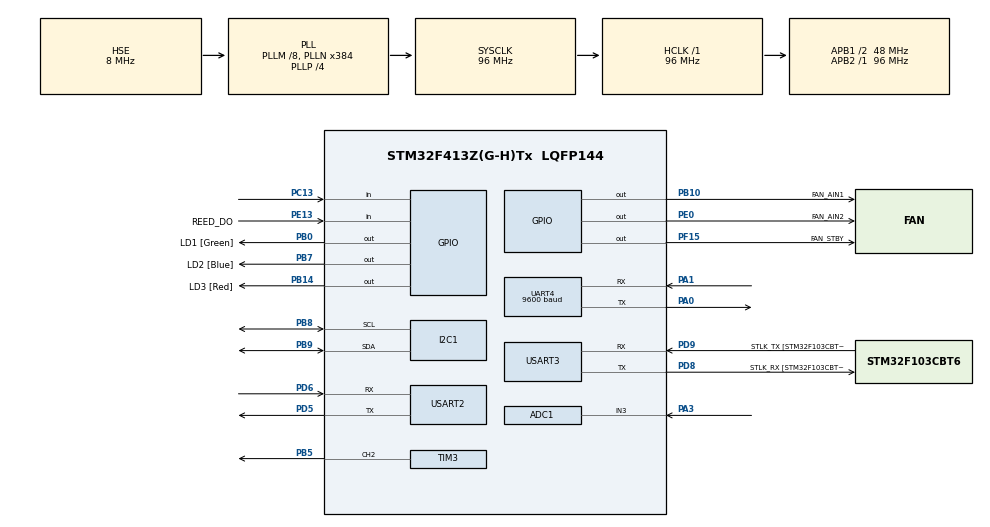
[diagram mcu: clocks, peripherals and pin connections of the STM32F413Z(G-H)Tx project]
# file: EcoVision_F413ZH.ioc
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ADC1.Channel-0\#ChannelRegularConversion=ADC_CHANNEL_3
ADC1.NbrOfConversionFlag=1
ADC1.Rank-0\#ChannelRegularConversion=1
ADC1.SamplingTime-0\#ChannelRegularConversion=ADC_SAMPLETIME_3CYCLES
ADC1.master=1
FREERTOS.Tasks01=heartbeatTask,24,256,StartHeartbeatTask,Default,NULL,Dynamic,NULL,NULL;ledTask,8,384,StartLedTask,Default,NULL,Dynamic,NULL,NULL;visionTask,16,768,StartVisionTask,Default,NULL,Dynamic,NULL,NULL
FREERTOS.configTOTAL_HEAP_SIZE=12288
Mcu.Family=STM32F4
Mcu.Name=STM32F413Z(G-H)Tx
Mcu.Package=LQFP144
NVIC.PriorityGroup=NVIC_PRIORITYGROUP_4
NVIC.TIM6_DAC_IRQn=true\:15\:0\:false\:false\:true\:false\:false\:false\:true
NVIC.TimeBase=TIM6_DAC_IRQn
NVIC.TimeBaseIP=TIM6
NVIC.UART4_IRQn=true\:6\:0\:true\:false\:true\:true\:true\:true\:false
NVIC.USART3_IRQn=true\:6\:0\:true\:false\:true\:true\:true\:true\:false
PA0.Mode=Asynchronous
PA0.Signal=UART4_TX
PA1.GPIO_PuPd=GPIO_PULLUP
PA1.Mode=Asynchronous
PA1.Signal=UART4_RX
PA13.GPIO_Label=TMS
PA13.Mode=Serial_Wire
PA13.Signal=SYS_JTMS-SWDIO
PA14.GPIO_Label=TCK
PA14.Mode=Serial_Wire
PA14.Signal=SYS_JTCK-SWCLK
PA3.Signal=ADCx_IN3
PB0.GPIO_Label=LD1 [Green]
PB0.Signal=GPIO_Output
PB10.GPIO_Label=FAN_AIN1
PB10.PinState=GPIO_PIN_RESET
PB10.Signal=GPIO_Output
PB14.GPIO_Label=LD3 [Red]
PB14.Signal=GPIO_Output
PB5.Signal=S_TIM3_CH2
PB7.GPIO_Label=LD2 [Blue]
PB7.Signal=GPIO_Output
PB8.Mode=I2C
PB8.Signal=I2C1_SCL
PB9.Mode=I2C
PB9.Signal=I2C1_SDA
PC13.GPIO_PuPd=GPIO_PULLUP
PC13.Signal=GPIO_Input
PD8.GPIO_Label=STLK_RX [STM32F103CBT6_PA3]
PD8.Mode=Asynchronous
PD8.Signal=USART3_TX
PD9.GPIO_Label=STLK_TX [STM32F103CBT6_PA2]
PD9.Mode=Asynchronous
PD9.Signal=USART3_RX
PE13.GPIO_Label=REED_DO
PE13.GPIO_PuPd=GPIO_PULLUP
PE13.Signal=GPIO_Input
PE0.GPIO_Label=FAN_AIN2
PE0.PinState=GPIO_PIN_RESET
PE0.Signal=GPIO_Output
PF15.GPIO_Label=FAN_STBY
PF15.PinState=GPIO_PIN_RESET
PF15.Signal=GPIO_Output
PH0\ -\ OSC_IN.GPIO_Label=MCO
PH0\ -\ OSC_IN.Mode=HSE-External-Clock-Source
PH0\ -\ OSC_IN.Signal=RCC_OSC_IN
PH1\ -\ OSC_OUT.Mode=HSE-External-Clock-Source
PH1\ -\ OSC_OUT.Signal=RCC_OSC_OUT
ProjectManager.HeapSize=0x200
ProjectManager.StackSize=0x400
ProjectManager.TargetToolchain=MDK-ARM V5
RCC.AHBCLKDivider=RCC_SYSCLK_DIV1
RCC.AHBFreq_Value=96000000
RCC.APB1CLKDivider=RCC_HCLK_DIV2
RCC.APB1Freq_Value=48000000
RCC.APB1TimFreq_Value=96000000
RCC.APB2CLKDivider=RCC_HCLK_DIV1
RCC.APB2Freq_Value=96000000
RCC.APB2TimFreq_Value=96000000
RCC.CortexFreq_Value=96000000
RCC.FLatency=FLASH_LATENCY_3
RCC.HCLKFreq_Value=96000000
RCC.HSE_VALUE=8000000
RCC.OscillatorType=RCC_OSCILLATORTYPE_HSE
RCC.PLLM=8
RCC.PLLN=384
RCC.PLLP=RCC_PLLP_DIV4
RCC.PLLQ=8
RCC.PLLSourceVirtual=RCC_PLLSOURCE_HSE
RCC.SYSCLKFreq_VALUE=96000000
RCC.SYSCLKSource=RCC_SYSCLKSOURCE_PLLCLK
RCC.VCOOutputFreq_Value=384000000
SH.ADCx_IN3.0=ADC1_IN3,IN3
SH.S_TIM3_CH2.0=TIM3_CH2,PWM Generation2 CH2
TIM3.Channel-PWM\ Generation2\ CH2=TIM_CHANNEL_2
TIM3.Period=4799
TIM3.Prescaler=0
TIM3.Pulse-PWM\ Generation2\ CH2=0
UART4.BaudRate=9600
UART4.VirtualMode=Asynchronous
USART3.VirtualMode=VM_ASYNC
VP_FREERTOS_VS_CMSIS_V2.Mode=CMSIS_V2
VP_SYS_VS_tim6.Mode=TIM6
board=custom
PD5.Mode=Asynchronous
PD5.Signal=USART2_TX
PD6.Mode=Asynchronous
PD6.Signal=USART2_RX
NVIC.USART2_IRQn=true\:6\:0\:true\:false\:true\:true\:true\:true\:false
# Environment task is implemented in App/Src/app_environment.c; 2048-byte stack, Low priority.
# PC5 is ADC1 channel15. Sampling config is owned by app_environment.c.

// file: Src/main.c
/* USER CODE BEGIN Header */
/**
  ******************************************************************************
  * @file           : main.c
  * @brief          : Main program body
  ******************************************************************************
  * @attention
  *
  * Copyright (c) 2026 STMicroelectronics.
  * All rights reserved.
  *
  * This software is licensed under terms that can be found in the LICENSE file
  * in the root directory of this software component.
  * If no LICENSE file comes with this software, it is provided AS-IS.
  *
  ******************************************************************************
  */
/* USER CODE END Header */
#include "main.h"
#include "cmsis_os.h"

/* USER CODE BEGIN Includes */
#include "app_led.h"
#include "app_fan.h"
#include "app_vision.h"
#include "app_log.h"
#include "app_environment.h"
#include "app_reed.h"
/* USER CODE END Includes */

ADC_HandleTypeDef hadc1;

I2C_HandleTypeDef hi2c1;

TIM_HandleTypeDef htim3;

UART_HandleTypeDef huart2;
UART_HandleTypeDef huart4;
UART_HandleTypeDef huart3;

/* Definitions for heartbeatTask */
osThreadId_t heartbeatTaskHandle;
const osThreadAttr_t heartbeatTask_attributes = {
  .name = "heartbeatTask",
  .stack_size = 256 * 4,
  .priority = (osPriority_t) osPriorityNormal,
};
/* Definitions for ledTask */
osThreadId_t ledTaskHandle;
const osThreadAttr_t ledTask_attributes = {
  .name = "ledTask",
  .stack_size = 384 * 4,
  .priority = (osPriority_t) osPriorityLow,
};
osThreadId_t environmentTaskHandle;
const osThreadAttr_t environmentTask_attributes={
 .name="environmentTask", .stack_size=2048, .priority=osPriorityLow
};
osThreadId_t visionTaskHandle;
const osThreadAttr_t visionTask_attributes = {
  .name="visionTask", .stack_size=3072, .priority=osPriorityBelowNormal
};
/* USER CODE BEGIN PV */
static const uint8_t boot_message[] =
    "EcoVision F413ZH bh1750-20261121.1, interface baseline 1.0.0\r\n"
    "FreeRTOS heartbeat running; HAL TIM6 tick OK\r\n";
/* USER CODE END PV */

void SystemClock_Config(void);
static void MX_GPIO_Init(void);
static void MX_ADC1_Init(void);
static void MX_I2C1_Init(void);
static void MX_USART2_UART_Init(void);
static void MX_USART3_UART_Init(void);
void StartVisionTask(void *argument);
static void MX_UART4_Init(void);
static void MX_TIM3_Init(void);
void StartHeartbeatTask(void *argument);
void StartLedTask(void *argument);

int main(void)
{

  /* MCU Configuration--------------------------------------------------------*/

  /* Reset of all peripherals, Initializes the Flash interface and the Systick. */
  HAL_Init();

  /* Configure the system clock */
  SystemClock_Config();

  /* Initialize all configured peripherals */
  MX_GPIO_Init();
  MX_ADC1_Init();
  MX_I2C1_Init();
  MX_USART3_UART_Init();
  MX_USART2_UART_Init();
  MX_UART4_Init();
  MX_TIM3_Init();
  /* USER CODE BEGIN 2 */
  if (!AppFan_Init(&htim3))
  {
    Error_Handler();
  }

  /* USER CODE END 2 */

  /* Init scheduler */
  osKernelInitialize();

  /* USER CODE BEGIN RTOS_MUTEX */
  AppLog_Init();
  /* add mutexes, ... */
  /* USER CODE END RTOS_MUTEX */

  /* Create the thread(s) */
  /* creation of heartbeatTask */
  heartbeatTaskHandle = osThreadNew(StartHeartbeatTask, NULL, &heartbeatTask_attributes);

  /* creation of ledTask */
  ledTaskHandle = osThreadNew(StartLedTask, NULL, &ledTask_attributes);

  /* USER CODE BEGIN RTOS_THREADS */
  environmentTaskHandle=osThreadNew(AppEnvironment_Run,NULL,&environmentTask_attributes);
  if(environmentTaskHandle==NULL) Error_Handler();
  visionTaskHandle = osThreadNew(StartVisionTask, NULL, &visionTask_attributes);
  if (visionTaskHandle == NULL) Error_Handler();
  if (heartbeatTaskHandle == NULL)
  {
    Error_Handler();
  }
  if (ledTaskHandle == NULL)
  {
    static const uint8_t message[] = "[LED] task allocation failed\r\n";
    (void)HAL_UART_Transmit(&huart3, message, sizeof message - 1U, 25U);
  }
  /* USER CODE END RTOS_THREADS */

  /* Start scheduler */
  osKernelStart();

  /* We should never get here as control is now taken by the scheduler */

  /* Infinite loop */
  while (1)
  {

    /* USER CODE BEGIN 3 */
    /* Reached only if the scheduler failed to start. */
    Error_Handler();
  }
  /* USER CODE END 3 */
}

void SystemClock_Config(void)
{
  RCC_OscInitTypeDef RCC_OscInitStruct = {0};
  RCC_ClkInitTypeDef RCC_ClkInitStruct = {0};

  /** Configure the main internal regulator output voltage
  */
  __HAL_RCC_PWR_CLK_ENABLE();
  __HAL_PWR_VOLTAGESCALING_CONFIG(PWR_REGULATOR_VOLTAGE_SCALE1);

  /** Initializes the RCC Oscillators according to the specified parameters
  * in the RCC_OscInitTypeDef structure.
  */
  RCC_OscInitStruct.OscillatorType = RCC_OSCILLATORTYPE_HSE;
  RCC_OscInitStruct.HSEState = RCC_HSE_BYPASS;
  RCC_OscInitStruct.PLL.PLLState = RCC_PLL_ON;
  RCC_OscInitStruct.PLL.PLLSource = RCC_PLLSOURCE_HSE;
  RCC_OscInitStruct.PLL.PLLM = 8;
  RCC_OscInitStruct.PLL.PLLN = 384;
  RCC_OscInitStruct.PLL.PLLP = RCC_PLLP_DIV4;
  RCC_OscInitStruct.PLL.PLLQ = 8;
  RCC_OscInitStruct.PLL.PLLR = 2;
  if (HAL_RCC_OscConfig(&RCC_OscInitStruct) != HAL_OK)
  {
    Error_Handler();
  }

  /** Initializes the CPU, AHB and APB buses clocks
  */
  RCC_ClkInitStruct.ClockType = RCC_CLOCKTYPE_HCLK|RCC_CLOCKTYPE_SYSCLK
                              |RCC_CLOCKTYPE_PCLK1|RCC_CLOCKTYPE_PCLK2;
  RCC_ClkInitStruct.SYSCLKSource = RCC_SYSCLKSOURCE_PLLCLK;
  RCC_ClkInitStruct.AHBCLKDivider = RCC_SYSCLK_DIV1;
  RCC_ClkInitStruct.APB1CLKDivider = RCC_HCLK_DIV2;
  RCC_ClkInitStruct.APB2CLKDivider = RCC_HCLK_DIV1;

  if (HAL_RCC_ClockConfig(&RCC_ClkInitStruct, FLASH_LATENCY_3) != HAL_OK)
  {
    Error_Handler();
  }
}

static void MX_ADC1_Init(void)
{

  ADC_ChannelConfTypeDef sConfig = {0};

  /** Configure the global features of the ADC (Clock, Resolution, Data Alignment and number of conversion)
  */
  hadc1.Instance = ADC1;
  hadc1.Init.ClockPrescaler = ADC_CLOCK_SYNC_PCLK_DIV4;
  hadc1.Init.Resolution = ADC_RESOLUTION_12B;
  hadc1.Init.ScanConvMode = DISABLE;
  hadc1.Init.ContinuousConvMode = DISABLE;
  hadc1.Init.DiscontinuousConvMode = DISABLE;
  hadc1.Init.ExternalTrigConvEdge = ADC_EXTERNALTRIGCONVEDGE_NONE;
  hadc1.Init.ExternalTrigConv = ADC_SOFTWARE_START;
  hadc1.Init.DataAlign = ADC_DATAALIGN_RIGHT;
  hadc1.Init.NbrOfConversion = 1;
  hadc1.Init.DMAContinuousRequests = DISABLE;
  hadc1.Init.EOCSelection = ADC_EOC_SINGLE_CONV;
  if (HAL_ADC_Init(&hadc1) != HAL_OK)
  {
    Error_Handler();
  }

  /** Configure for the selected ADC regular channel its corresponding rank in the sequencer and its sample time.
  */
  sConfig.Channel = ADC_CHANNEL_3;
  sConfig.Rank = 1;
  sConfig.SamplingTime = ADC_SAMPLETIME_3CYCLES;
  if (HAL_ADC_ConfigChannel(&hadc1, &sConfig) != HAL_OK)
  {
    Error_Handler();
  }

}

static void MX_I2C1_Init(void)
{

  hi2c1.Instance = I2C1;
  hi2c1.Init.ClockSpeed = 100000;
  hi2c1.Init.DutyCycle = I2C_DUTYCYCLE_2;
  hi2c1.Init.OwnAddress1 = 0;
  hi2c1.Init.AddressingMode = I2C_ADDRESSINGMODE_7BIT;
  hi2c1.Init.DualAddressMode = I2C_DUALADDRESS_DISABLE;
  hi2c1.Init.OwnAddress2 = 0;
  hi2c1.Init.GeneralCallMode = I2C_GENERALCALL_DISABLE;
  hi2c1.Init.NoStretchMode = I2C_NOSTRETCH_DISABLE;
  if (HAL_I2C_Init(&hi2c1) != HAL_OK)
  {
    Error_Handler();
  }

}

static void MX_TIM3_Init(void)
{

  TIM_MasterConfigTypeDef sMasterConfig = {0};
  TIM_OC_InitTypeDef sConfigOC = {0};

  htim3.Instance = TIM3;
  htim3.Init.Prescaler = 0;
  htim3.Init.CounterMode = TIM_COUNTERMODE_UP;
  htim3.Init.Period = 4799;
  htim3.Init.ClockDivision = TIM_CLOCKDIVISION_DIV1;
  htim3.Init.AutoReloadPreload = TIM_AUTORELOAD_PRELOAD_DISABLE;
  if (HAL_TIM_PWM_Init(&htim3) != HAL_OK)
  {
    Error_Handler();
  }
  sMasterConfig.MasterOutputTrigger = TIM_TRGO_RESET;
  sMasterConfig.MasterSlaveMode = TIM_MASTERSLAVEMODE_DISABLE;
  if (HAL_TIMEx_MasterConfigSynchronization(&htim3, &sMasterConfig) != HAL_OK)
  {
    Error_Handler();
  }
  sConfigOC.OCMode = TIM_OCMODE_PWM1;
  sConfigOC.Pulse = 0;
  sConfigOC.OCPolarity = TIM_OCPOLARITY_HIGH;
  sConfigOC.OCFastMode = TIM_OCFAST_DISABLE;
  if (HAL_TIM_PWM_ConfigChannel(&htim3, &sConfigOC, TIM_CHANNEL_2) != HAL_OK)
  {
    Error_Handler();
  }
  HAL_TIM_MspPostInit(&htim3);

}

static void MX_UART4_Init(void)
{

  huart4.Instance = UART4;
  huart4.Init.BaudRate = 9600;
  huart4.Init.WordLength = UART_WORDLENGTH_8B;
  huart4.Init.StopBits = UART_STOPBITS_1;
  huart4.Init.Parity = UART_PARITY_NONE;
  huart4.Init.Mode = UART_MODE_TX_RX;
  huart4.Init.HwFlowCtl = UART_HWCONTROL_NONE;
  huart4.Init.OverSampling = UART_OVERSAMPLING_16;
  if (HAL_UART_Init(&huart4) != HAL_OK)
  {
    Error_Handler();
  }

}

static void MX_USART2_UART_Init(void)
{
  huart2.Instance=USART2;
  huart2.Init.BaudRate=115200;
  huart2.Init.WordLength=UART_WORDLENGTH_8B;
  huart2.Init.StopBits=UART_STOPBITS_1;
  huart2.Init.Parity=UART_PARITY_NONE;
  huart2.Init.Mode=UART_MODE_TX_RX;
  huart2.Init.HwFlowCtl=UART_HWCONTROL_NONE;
  huart2.Init.OverSampling=UART_OVERSAMPLING_16;
  if(HAL_UART_Init(&huart2)!=HAL_OK) Error_Handler();
}
void StartVisionTask(void *argument)
{
  (void)argument;
  AppVision_Run(&huart2);
}

static void MX_USART3_UART_Init(void)
{

  huart3.Instance = USART3;
  huart3.Init.BaudRate = 115200;
  huart3.Init.WordLength = UART_WORDLENGTH_8B;
  huart3.Init.StopBits = UART_STOPBITS_1;
  huart3.Init.Parity = UART_PARITY_NONE;
  huart3.Init.Mode = UART_MODE_TX_RX;
  huart3.Init.HwFlowCtl = UART_HWCONTROL_NONE;
  huart3.Init.OverSampling = UART_OVERSAMPLING_16;
  if (HAL_UART_Init(&huart3) != HAL_OK)
  {
    Error_Handler();
  }

}

static void MX_GPIO_Init(void)
{
  GPIO_InitTypeDef GPIO_InitStruct = {0};

  /* GPIO Ports Clock Enable */
  __HAL_RCC_GPIOC_CLK_ENABLE();
  __HAL_RCC_GPIOH_CLK_ENABLE();
  __HAL_RCC_GPIOA_CLK_ENABLE();
  __HAL_RCC_GPIOB_CLK_ENABLE();
  __HAL_RCC_GPIOF_CLK_ENABLE();
  __HAL_RCC_GPIOD_CLK_ENABLE();
  __HAL_RCC_GPIOE_CLK_ENABLE();

  /*Configure GPIO pin Output Level */
  HAL_GPIO_WritePin(GPIOB, LD1_Pin|FAN_AIN1_Pin|LD3_Pin|LD2_Pin, GPIO_PIN_RESET);

  /*Configure GPIO pin Output Level */
  HAL_GPIO_WritePin(FAN_STBY_GPIO_Port, FAN_STBY_Pin, GPIO_PIN_RESET);

  /*Configure GPIO pin Output Level */
  HAL_GPIO_WritePin(FAN_AIN2_GPIO_Port, FAN_AIN2_Pin, GPIO_PIN_RESET);

  /*Configure GPIO pin : PC13 */
  GPIO_InitStruct.Pin = GPIO_PIN_13;
  GPIO_InitStruct.Mode = GPIO_MODE_INPUT;
  GPIO_InitStruct.Pull = GPIO_PULLUP;
  HAL_GPIO_Init(GPIOC, &GPIO_InitStruct);

  /*Configure GPIO pins : LD1_Pin FAN_AIN1_Pin LD3_Pin LD2_Pin */
  GPIO_InitStruct.Pin = LD1_Pin|FAN_AIN1_Pin|LD3_Pin|LD2_Pin;
  GPIO_InitStruct.Mode = GPIO_MODE_OUTPUT_PP;
  GPIO_InitStruct.Pull = GPIO_NOPULL;
  GPIO_InitStruct.Speed = GPIO_SPEED_FREQ_LOW;
  HAL_GPIO_Init(GPIOB, &GPIO_InitStruct);

  /*Configure GPIO pin : FAN_STBY_Pin */
  GPIO_InitStruct.Pin = FAN_STBY_Pin;
  GPIO_InitStruct.Mode = GPIO_MODE_OUTPUT_PP;
  GPIO_InitStruct.Pull = GPIO_NOPULL;
  GPIO_InitStruct.Speed = GPIO_SPEED_FREQ_LOW;
  HAL_GPIO_Init(FAN_STBY_GPIO_Port, &GPIO_InitStruct);

  /*Configure GPIO pin : FAN_AIN2_Pin */
  GPIO_InitStruct.Pin = FAN_AIN2_Pin;
  GPIO_InitStruct.Mode = GPIO_MODE_OUTPUT_PP;
  GPIO_InitStruct.Pull = GPIO_NOPULL;
  GPIO_InitStruct.Speed = GPIO_SPEED_FREQ_LOW;
  HAL_GPIO_Init(FAN_AIN2_GPIO_Port, &GPIO_InitStruct);

  /* USER CODE BEGIN MX_GPIO_Init_2 */
  /* Matches PE13 GPIO_Input / pull-up in the saved .ioc. */
  GPIO_InitStruct.Pin = GPIO_PIN_13;
  GPIO_InitStruct.Mode = GPIO_MODE_INPUT;
  GPIO_InitStruct.Pull = GPIO_PULLUP;
  HAL_GPIO_Init(GPIOE, &GPIO_InitStruct);
  /* USER CODE END MX_GPIO_Init_2 */
}

void StartHeartbeatTask(void *argument)
{
  /* USER CODE BEGIN 5 */
  (void)argument;
  const uint32_t half_period_ticks = osKernelGetTickFreq() / 2U;
  const uint32_t start_ms = HAL_GetTick();

  if (osDelay(half_period_ticks) != osOK)
  {
    Error_Handler();
  }

  /* With the scheduler running, verify the independent HAL millisecond tick. */
  const uint32_t elapsed_ms = HAL_GetTick() - start_ms;
  if (elapsed_ms < 450U || elapsed_ms > 550U)
  {
    Error_Handler();
  }

  (void)HAL_UART_Transmit(&huart3, boot_message, sizeof boot_message - 1U, 25U);
  uint32_t heartbeat_at = HAL_GetTick();
  for (;;)
  {
    AppReed_Poll();
    if ((uint32_t)(HAL_GetTick() - heartbeat_at) >= 500U)
    {
      heartbeat_at = HAL_GetTick();
      HAL_GPIO_TogglePin(LD2_GPIO_Port, LD2_Pin);
    }
    osDelay((osKernelGetTickFreq() + 99U) / 100U);
  }
  /* USER CODE END 5 */
}

void StartLedTask(void *argument)
{
  /* USER CODE BEGIN StartLedTask */
  (void)argument;
  AppLed_Run(&huart3);
  /* USER CODE END StartLedTask */
}

void HAL_TIM_PeriodElapsedCallback(TIM_HandleTypeDef *htim)
{
  if (htim->Instance == TIM6)
  {
    HAL_IncTick();
  }
}

void Error_Handler(void)
{
  __disable_irq();
  while (1)
  {
  }
}
